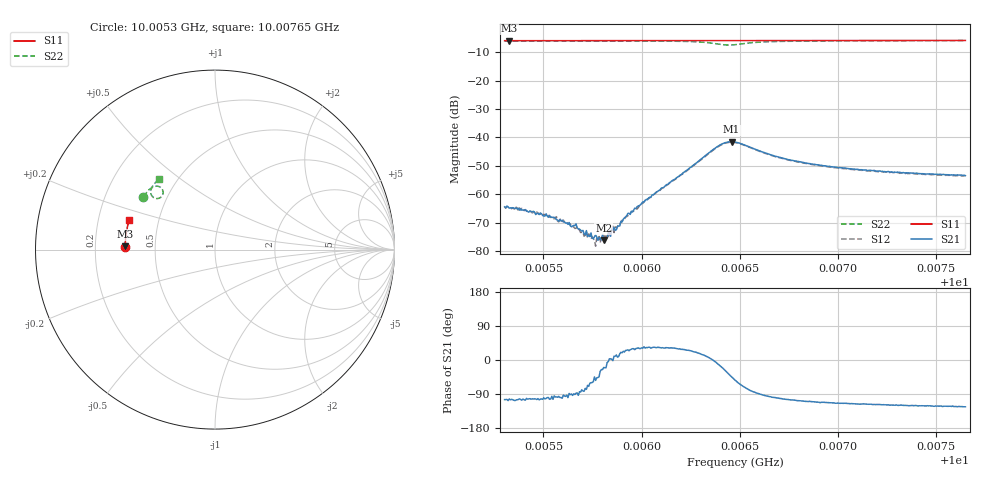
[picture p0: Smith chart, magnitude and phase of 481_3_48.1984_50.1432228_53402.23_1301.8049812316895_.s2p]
#  HZ  S  RI  R  50.00
! Rohde & Schwarz Vector Network Analyzer
! Rohde-Schwarz,ZNB20-2Port,1311601062101988,3.16
! Created: UTC 3/20/2024, 11:57:40 AM
! freq[Hz]  re:S11  im:S11  re:S21  im:S21  re:S12  im:S12  re:S22  im:S22
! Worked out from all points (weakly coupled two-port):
!   401 points, 10.0053 GHz to 10.00765 GHz, reference 50 ohm
!   highest |S21| = -41.50 dB at 10.00646 GHz (marker M1); lowest = -76.2 dB at 10.00581 GHz (marker M2)
!   lowest |S11| = -6.0 dB at 10.00533 GHz (marker M3), VSWR 3.01, Z = 16.6 + j0.809 ohm
!   |S11| at or under -10 dB: nowhere
!   |S22| runs from -7.5 to -6.0 dB; largest |S21 - S12| = 0.00052
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1.0005303e10  -0.5004 0.0167  -0.000152 -0.000587  -0.000104 -0.000593  -0.3985 0.295
1.0005326e10  -0.5004 0.0182  -0.000129 -0.00056  -0.00014 -0.000579  -0.3975 0.2963
1.0005444e10  -0.5003 0.0259  -0.000108 -0.000485  -6.04e-05 -0.00047  -0.3926 0.3031
1.0005596e10  -0.4998 0.0358  -6.62e-05 -0.000346  -1.74e-05 -0.000334  -0.3859 0.3123
1.0005666e10  -0.4998 0.0404  1.23e-05 -0.000305  4.26e-05 -0.000252  -0.3826 0.3168
1.0005696e10  -0.4997 0.0422  4.55e-05 -0.000223  4.61e-05 -0.000211  -0.3809 0.3185
1.0005743e10  -0.4993 0.0454  0.000105 -0.000182  8.68e-05 -0.00014  -0.3786 0.3215
1.0005766e10  -0.4994 0.0468  0.000114 -0.000156  8.39e-05 -9.06e-05  -0.3773 0.3228
1.0005778e10  -0.4993 0.0477  0.000108 -0.000113  0.00012 -0.000105  -0.3768 0.3237
1.0005807e10  -0.4992 0.0496  0.000146 -5.29e-05  0.000184 -5.91e-05  -0.3751 0.3255
1.0005837e10  -0.4991 0.0514  0.000208 1.17e-05  0.000238 3.36e-05  -0.3735 0.3272
1.0005878e10  -0.4989 0.0541  0.000272 3.68e-05  0.000256 8.36e-05  -0.371 0.33
1.0005925e10  -0.4986 0.0571  0.000383 0.000184  0.000361 0.000187  -0.368 0.3331
1.0006089e10  -0.4977 0.0677  0.000983 0.000642  0.000938 0.000656  -0.3544 0.3443
1.0006382e10  -0.4947 0.0865  0.00673 -0.000883  0.00661 -0.000485  -0.2916 0.3314
1.0006423e10  -0.4943 0.0889  0.00718 -0.00355  0.00724 -0.00312  -0.2911 0.3068
1.0006458e10  -0.4938 0.0909  0.00602 -0.00588  0.00621 -0.00543  -0.3057 0.289
1.0006476e10  -0.4939 0.0919  0.00497 -0.00662  0.00528 -0.0062  -0.3161 0.285
1.0006681e10  -0.4922 0.1051  -0.000747 -0.0046  -0.000558 -0.00456  -0.3581 0.3266
1.0006869e10  -0.4899 0.117  -0.00117 -0.00322  -0.000976 -0.00319  -0.35 0.3496
1.0007261e10  -0.4846 0.1419  -0.00122 -0.00217  -0.00105 -0.00219  -0.3295 0.3763
1.0007648e10  -0.4775 0.1659  -0.00118 -0.00178  -0.00108 -0.00184  -0.3095 0.3958
